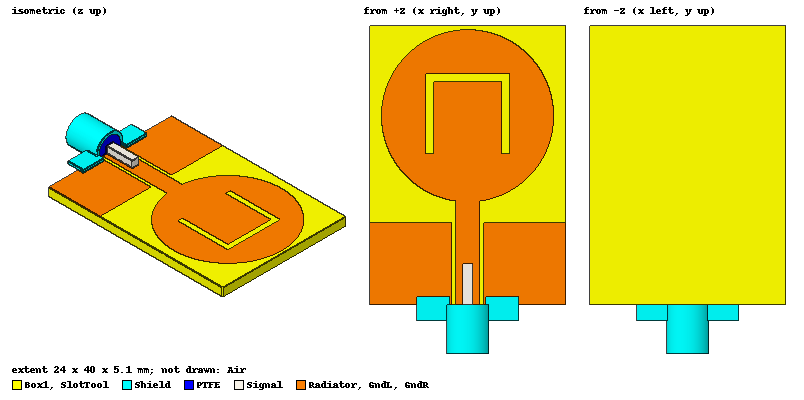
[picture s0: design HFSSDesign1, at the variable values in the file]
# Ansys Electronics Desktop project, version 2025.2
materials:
  vacuum: permittivity=1
  FR4_paper: permittivity=4.4 dielectric_loss_tangent=0.025
  PTFE_sma: permittivity=2.1 dielectric_loss_tangent=0.0002
  pec: conductivity=1e+30

design HFSSDesign1 (HFSS, HFSS Modal Network, model units mm)
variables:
  ws = 24mm
  ls = 34mm
  h = 1.6mm
  a = 10.5mm
  wf = 3mm
  lf = 12.5mm
  g = 0.5mm
  lg = 10mm
  lc = 6mm
  rp = 0.635mm
  rd = 2.05mm
  rt = 2.55mm
  pad = 32mm
  cy = -ls/2+lf+a
  gw = ws/2-wf/2-g
  zc = h+rp
  ap = 32mm
  S = 0.9mm
  dd = 3.1mm
  D = 3*dd
  w1 = 4.5mm
  l1 = 3mm
  x0 = 0-1.5*dd
  y0 = cy-1.5*dd
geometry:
  Box1 [FR4_paper] = box(corner=(-ws/2, -ls/2, 0), size=(ws, ls, h))
  Feed = rectangle(corner=(-wf/2, -ls/2, h), x_size=wf, y_size=lf+1mm)
  Radiator = circle(normal=Z, centre=(0mm, cy, h), radius=a)
  GndL = rectangle(corner=(-ws/2, -ls/2, h), x_size=gw, y_size=lg)
  GndR = rectangle(corner=(wf/2+g, -ls/2, h), x_size=gw, y_size=lg)
  Radiator.unite(Feed)
  PTFE [PTFE_sma] = cylinder(axis=Y, base_centre=(0mm, -ls/2-lc, zc), radius=rd, height=lc)
  Shield [pec] = cylinder(axis=Y, base_centre=(0mm, -ls/2-lc, zc), radius=rt, height=lc)
  Signal [pec] = cylinder(axis=Y, base_centre=(0mm, -ls/2-lc, zc), radius=rp, height=lc)
  PTFE_1 = PTFE.copy()
  Shield.subtract(PTFE_1)
  Pin_1 = Signal.copy()
  PTFE.subtract(Pin_1)
  tab = box(corner=(-rp, -ls/2, h), size=(2*rp, 5mm, 2*rp))
  Signal.unite(tab)
  PadL = box(corner=(-6.2mm, -ls/2-2mm, h), size=(4mm, 3mm, 0.5mm))
  PadR = box(corner=(2.2mm, -ls/2-2mm, h), size=(4mm, 3mm, 0.5mm))
  Shield.unite(PadL, PadR)
  Air [vacuum] = box(corner=(-ws/2-ap, -ls/2-lc, -ap), size=(ws+2*ap, ls+lc+ap, h+2*ap))
  SlotTool = rectangle(corner=(x0-S/2, y0, h), x_size=S, y_size=D+S/2)
  SlotTOP = rectangle(corner=(x0-S/2, y0+D-S/2, h), x_size=D+S, y_size=S)
  SlotR = rectangle(corner=(-x0-S/2, y0, h), x_size=S, y_size=D+S/2)
  SlotTool.unite(SlotTOP, SlotR)
  SlotTool_1 = SlotTool.copy()
  Radiator.subtract(SlotTool_1)
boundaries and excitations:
  PerfE1: Perfect E Objects=[Radiator, GndR, GndL]
  Rad1: Radiation Faces=Air.face(all 6)
  1: Wave Port Faces=PTFE.face(-y end) WavePortType=Modal NumModes=1 Modes{Mode1{CharImp=Zpi RenormImp=50ohm}}
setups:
  Setup1: HfssDriven MultipleAdaptiveFreqsSetup{AdaptAt{Frequency=2.45GHz Delta=0.02} AdaptAt{Frequency=3.6GHz Delta=0.02} AdaptAt{Frequency=5.7GHz Delta=0.02}} MaximumPasses=15 MinimumPasses=1 MinimumConvergedPasses=1 PercentRefinement=30 BasisOrder=1 PortAccuracy=2 DrivenSolverType="Direct Solver"
    sweep Sweep: 2GHz to 6.5GHz step 0.01GHz; Type=Interpolating InterpTolerance=0.5 InterpMaxSolns=250 InterpUsePortImped=false PassivityErrorTolerance=0.0001
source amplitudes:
  1:1: 1W 0deg
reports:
  S Parameter Plot1: dB(S(1,1)) vs Freq on Setup1 : Sweep
